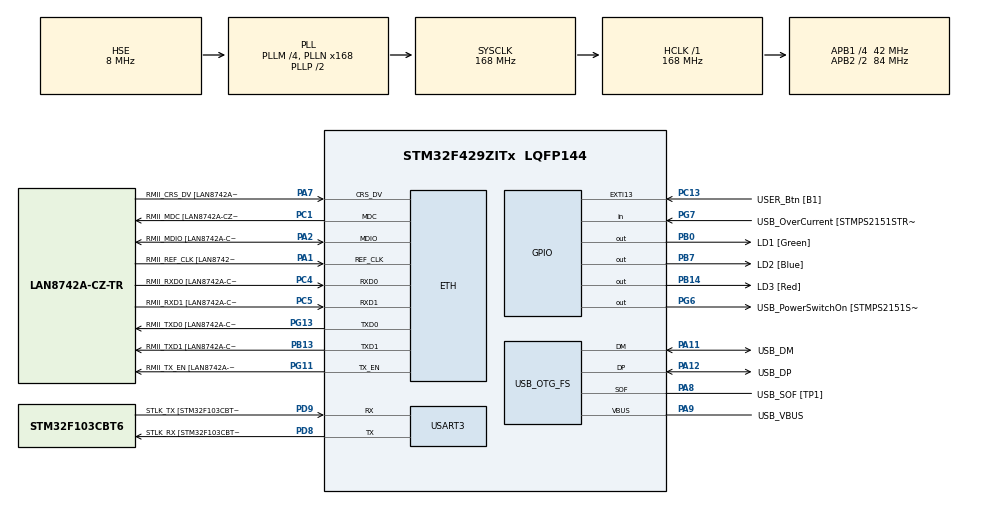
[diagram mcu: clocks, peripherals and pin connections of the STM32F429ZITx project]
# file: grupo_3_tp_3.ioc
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ETH.MediaInterface=HAL_ETH_RMII_MODE
ETH.PHY_Name=LAN8742A_PHY_ADDRESS
ETH.PHY_Value=0
ETH.PhyAddress=0
FREERTOS.INCLUDE_vTaskDelayUntil=1
FREERTOS.MEMORY_ALLOCATION=0
FREERTOS.Tasks01=defaultTask,0,128,StartDefaultTask,Default,NULL,Dynamic,NULL,NULL
FREERTOS.configGENERATE_RUN_TIME_STATS=1
FREERTOS.configRECORD_STACK_HIGH_ADDRESS=1
FREERTOS.configUSE_COUNTING_SEMAPHORES=1
FREERTOS.configUSE_IDLE_HOOK=1
FREERTOS.configUSE_STATS_FORMATTING_FUNCTIONS=1
FREERTOS.configUSE_TIMERS=1
FREERTOS.configUSE_TRACE_FACILITY=1
Mcu.Family=STM32F4
Mcu.Name=STM32F429ZITx
Mcu.Package=LQFP144
NVIC.PriorityGroup=NVIC_PRIORITYGROUP_4
NVIC.TIM1_UP_TIM10_IRQn=true\:15\:0\:false\:false\:true\:false\:false\:true\:true
NVIC.TIM2_IRQn=true\:5\:0\:false\:false\:true\:true\:true\:true\:true
NVIC.TimeBase=TIM1_UP_TIM10_IRQn
NVIC.TimeBaseIP=TIM1
PA1.GPIO_Label=RMII_REF_CLK [LAN8742A-CZ-TR_REFCLK0]
PA1.Mode=RMII
PA1.Signal=ETH_REF_CLK
PA10.GPIO_Label=USB_ID
PA10.Signal=USB_OTG_FS_ID
PA11.GPIO_Label=USB_DM
PA11.Mode=Device_Only
PA11.Signal=USB_OTG_FS_DM
PA12.GPIO_Label=USB_DP
PA12.Mode=Device_Only
PA12.Signal=USB_OTG_FS_DP
PA13.GPIO_Label=TMS
PA13.Mode=Serial_Wire
PA13.Signal=SYS_JTMS-SWDIO
PA14.GPIO_Label=TCK
PA14.Mode=Serial_Wire
PA14.Signal=SYS_JTCK-SWCLK
PA2.GPIO_Label=RMII_MDIO [LAN8742A-CZ-TR_MDIO]
PA2.Mode=RMII
PA2.Signal=ETH_MDIO
PA7.GPIO_Label=RMII_CRS_DV [LAN8742A-CZ-TR_CRS_DV]
PA7.Mode=RMII
PA7.Signal=ETH_CRS_DV
PA8.GPIO_Label=USB_SOF [TP1]
PA8.Mode=Activate_SOF_FS
PA8.Signal=USB_OTG_FS_SOF
PA9.GPIO_Label=USB_VBUS
PA9.Mode=Activate_VBUS
PA9.Signal=USB_OTG_FS_VBUS
PB0.GPIO_Label=LD1 [Green]
PB0.Signal=GPIO_Output
PB13.GPIO_Label=RMII_TXD1 [LAN8742A-CZ-TR_TXD1]
PB13.Mode=RMII
PB13.Signal=ETH_TXD1
PB14.GPIO_Label=LD3 [Red]
PB14.Signal=GPIO_Output
PB7.GPIO_Label=LD2 [Blue]
PB7.Signal=GPIO_Output
PC1.GPIO_Label=RMII_MDC [LAN8742A-CZ-TR_MDC]
PC1.Mode=RMII
PC1.Signal=ETH_MDC
PC13.GPIO_Label=USER_Btn [B1]
PC13.Signal=GPXTI13
PC14/OSC32_IN.Mode=LSE-External-Oscillator
PC14/OSC32_IN.Signal=RCC_OSC32_IN
PC15/OSC32_OUT.Mode=LSE-External-Oscillator
PC15/OSC32_OUT.Signal=RCC_OSC32_OUT
PC4.GPIO_Label=RMII_RXD0 [LAN8742A-CZ-TR_RXD0]
PC4.Mode=RMII
PC4.Signal=ETH_RXD0
PC5.GPIO_Label=RMII_RXD1 [LAN8742A-CZ-TR_RXD1]
PC5.Mode=RMII
PC5.Signal=ETH_RXD1
PD8.GPIO_Label=STLK_RX [STM32F103CBT6_PA3]
PD8.Mode=Asynchronous
PD8.Signal=USART3_TX
PD9.GPIO_Label=STLK_TX [STM32F103CBT6_PA2]
PD9.Mode=Asynchronous
PD9.Signal=USART3_RX
PG11.GPIO_Label=RMII_TX_EN [LAN8742A-CZ-TR_TXEN]
PG11.Mode=RMII
PG11.Signal=ETH_TX_EN
PG13.GPIO_Label=RMII_TXD0 [LAN8742A-CZ-TR_TXD0]
PG13.Mode=RMII
PG13.Signal=ETH_TXD0
PG6.GPIO_Label=USB_PowerSwitchOn [STMPS2151STR_EN]
PG6.Signal=GPIO_Output
PG7.GPIO_Label=USB_OverCurrent [STMPS2151STR_FAULT]
PG7.Signal=GPIO_Input
PH0/OSC_IN.GPIO_Label=MCO [STM32F103CBT6_PA8]
PH0/OSC_IN.Mode=HSE-External-Clock-Source
PH0/OSC_IN.Signal=RCC_OSC_IN
PH1/OSC_OUT.Mode=HSE-External-Clock-Source
PH1/OSC_OUT.Signal=RCC_OSC_OUT
ProjectManager.HeapSize=0x200
ProjectManager.StackSize=0x400
ProjectManager.TargetToolchain=STM32CubeIDE
RCC.48MHZClocksFreq_Value=48000000
RCC.AHBFreq_Value=168000000
RCC.APB1CLKDivider=RCC_HCLK_DIV4
RCC.APB1Freq_Value=42000000
RCC.APB1TimFreq_Value=84000000
RCC.APB2CLKDivider=RCC_HCLK_DIV2
RCC.APB2Freq_Value=84000000
RCC.APB2TimCLKDivider=2
RCC.APB2TimFreq_Value=168000000
RCC.CortexFreq_Value=168000000
RCC.HCLKFreq_Value=168000000
RCC.HSE_VALUE=8000000
RCC.HSI_VALUE=16000000
RCC.PLLM=4
RCC.PLLMUL=RCC_PLL_MUL9
RCC.PLLN=168
RCC.PLLQ=7
RCC.PRESCALERUSB=RCC_USBCLKSOURCE_PLL_DIV1_5
RCC.SYSCLKFreq_VALUE=168000000
RCC.SYSCLKSource=RCC_SYSCLKSOURCE_PLLCLK
RCC.SYSCLKSourceVirtual=RCC_SYSCLKSOURCE_PLLCLK
RCC.USBFreq_Value=48000000
RCC.VCOOutputFreq_Value=336000000
TIM2.Period=84000-1
TIM2.Prescaler=2-1
USART3.VirtualMode=VM_ASYNC
USB_OTG_FS.VirtualMode=Device_Only
VP_FREERTOS_VS_CMSIS_V1.Mode=CMSIS_V1
VP_SYS_VS_tim1.Mode=TIM1
VP_TIM2_VS_ClockSourceINT.Mode=Internal
board=NUCLEO-F429ZI

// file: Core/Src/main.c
/* USER CODE BEGIN Header */
/**
  ******************************************************************************
  * @file           : main.c
  * @brief          : Main program body
  ******************************************************************************
  * @attention
  *
  * Copyright (c) 2024 STMicroelectronics.
  * All rights reserved.
  *
  * This software is licensed under terms that can be found in the LICENSE file
  * in the root directory of this software component.
  * If no LICENSE file comes with this software, it is provided AS-IS.
  *
  ******************************************************************************
  */
/* USER CODE END Header */
#include "main.h"
#include "string.h"
#include "cmsis_os.h"

/* USER CODE BEGIN Includes */

/* Demo includes. */
#include "logger.h"
#include "dwt.h"

/* Application includes. */
#include "app.h"

/* USER CODE END Includes */

ETH_TxPacketConfig TxConfig;
ETH_DMADescTypeDef  DMARxDscrTab[ETH_RX_DESC_CNT]; /* Ethernet Rx DMA Descriptors */
ETH_DMADescTypeDef  DMATxDscrTab[ETH_TX_DESC_CNT]; /* Ethernet Tx DMA Descriptors */

ETH_HandleTypeDef heth;

TIM_HandleTypeDef htim2;

UART_HandleTypeDef huart3;

PCD_HandleTypeDef hpcd_USB_OTG_FS;

osThreadId defaultTaskHandle;
/* USER CODE BEGIN PV */
volatile unsigned long ulHighFrequencyTimerTicks;

/* USER CODE END PV */

void SystemClock_Config(void);
static void MX_GPIO_Init(void);
static void MX_ETH_Init(void);
static void MX_USART3_UART_Init(void);
static void MX_USB_OTG_FS_PCD_Init(void);
static void MX_TIM2_Init(void);
void StartDefaultTask(void const * argument);

/* USER CODE BEGIN 0 */
extern void initialise_monitor_handles(void);

/* USER CODE END 0 */

int main(void)
{
  /* USER CODE BEGIN 1 */
	initialise_monitor_handles();

  /* USER CODE END 1 */

  /* MCU Configuration--------------------------------------------------------*/

  /* Reset of all peripherals, Initializes the Flash interface and the Systick. */
  HAL_Init();

  /* Configure the system clock */
  SystemClock_Config();

  /* Initialize all configured peripherals */
  MX_GPIO_Init();
  MX_ETH_Init();
  MX_USART3_UART_Init();
  MX_USB_OTG_FS_PCD_Init();
  MX_TIM2_Init();
  /* USER CODE BEGIN 2 */
  /* Start timer */
	HAL_TIM_Base_Start_IT(&htim2);

    /* add application, ... */
	app_init();

  /* USER CODE END 2 */

  /* USER CODE BEGIN RTOS_QUEUES */
  /* add queues, ... */
	#ifdef _defaultTask_

  /* USER CODE END RTOS_QUEUES */

  /* Create the thread(s) */
  /* definition and creation of defaultTask */
  osThreadDef(defaultTask, StartDefaultTask, osPriorityNormal, 0, 128);
  defaultTaskHandle = osThreadCreate(osThread(defaultTask), NULL);

  /* USER CODE BEGIN RTOS_THREADS */
	#endif

  /* add threads, ... */
  /* USER CODE END RTOS_THREADS */

  /* Start scheduler */
  osKernelStart();

  /* We should never get here as control is now taken by the scheduler */
  /* Infinite loop */
  while (1)
  {

  }
}

void SystemClock_Config(void)
{
  RCC_OscInitTypeDef RCC_OscInitStruct = {0};
  RCC_ClkInitTypeDef RCC_ClkInitStruct = {0};

  /** Configure the main internal regulator output voltage
  */
  __HAL_RCC_PWR_CLK_ENABLE();
  __HAL_PWR_VOLTAGESCALING_CONFIG(PWR_REGULATOR_VOLTAGE_SCALE1);

  /** Initializes the RCC Oscillators according to the specified parameters
  * in the RCC_OscInitTypeDef structure.
  */
  RCC_OscInitStruct.OscillatorType = RCC_OSCILLATORTYPE_HSE;
  RCC_OscInitStruct.HSEState = RCC_HSE_BYPASS;
  RCC_OscInitStruct.PLL.PLLState = RCC_PLL_ON;
  RCC_OscInitStruct.PLL.PLLSource = RCC_PLLSOURCE_HSE;
  RCC_OscInitStruct.PLL.PLLM = 4;
  RCC_OscInitStruct.PLL.PLLN = 168;
  RCC_OscInitStruct.PLL.PLLP = RCC_PLLP_DIV2;
  RCC_OscInitStruct.PLL.PLLQ = 7;
  if (HAL_RCC_OscConfig(&RCC_OscInitStruct) != HAL_OK)
  {
    Error_Handler();
  }

  /** Initializes the CPU, AHB and APB buses clocks
  */
  RCC_ClkInitStruct.ClockType = RCC_CLOCKTYPE_HCLK|RCC_CLOCKTYPE_SYSCLK
                              |RCC_CLOCKTYPE_PCLK1|RCC_CLOCKTYPE_PCLK2;
  RCC_ClkInitStruct.SYSCLKSource = RCC_SYSCLKSOURCE_PLLCLK;
  RCC_ClkInitStruct.AHBCLKDivider = RCC_SYSCLK_DIV1;
  RCC_ClkInitStruct.APB1CLKDivider = RCC_HCLK_DIV4;
  RCC_ClkInitStruct.APB2CLKDivider = RCC_HCLK_DIV2;

  if (HAL_RCC_ClockConfig(&RCC_ClkInitStruct, FLASH_LATENCY_5) != HAL_OK)
  {
    Error_Handler();
  }
}

static void MX_ETH_Init(void)
{

   static uint8_t MACAddr[6];

  heth.Instance = ETH;
  MACAddr[0] = 0x00;
  MACAddr[1] = 0x80;
  MACAddr[2] = 0xE1;
  MACAddr[3] = 0x00;
  MACAddr[4] = 0x00;
  MACAddr[5] = 0x00;
  heth.Init.MACAddr = &MACAddr[0];
  heth.Init.MediaInterface = HAL_ETH_RMII_MODE;
  heth.Init.TxDesc = DMATxDscrTab;
  heth.Init.RxDesc = DMARxDscrTab;
  heth.Init.RxBuffLen = 1524;

  if (HAL_ETH_Init(&heth) != HAL_OK)
  {
    Error_Handler();
  }

  memset(&TxConfig, 0 , sizeof(ETH_TxPacketConfig));
  TxConfig.Attributes = ETH_TX_PACKETS_FEATURES_CSUM | ETH_TX_PACKETS_FEATURES_CRCPAD;
  TxConfig.ChecksumCtrl = ETH_CHECKSUM_IPHDR_PAYLOAD_INSERT_PHDR_CALC;
  TxConfig.CRCPadCtrl = ETH_CRC_PAD_INSERT;

}

static void MX_TIM2_Init(void)
{

  TIM_ClockConfigTypeDef sClockSourceConfig = {0};
  TIM_MasterConfigTypeDef sMasterConfig = {0};

  htim2.Instance = TIM2;
  htim2.Init.Prescaler = 2-1;
  htim2.Init.CounterMode = TIM_COUNTERMODE_UP;
  htim2.Init.Period = 84000-1;
  htim2.Init.ClockDivision = TIM_CLOCKDIVISION_DIV1;
  htim2.Init.AutoReloadPreload = TIM_AUTORELOAD_PRELOAD_DISABLE;
  if (HAL_TIM_Base_Init(&htim2) != HAL_OK)
  {
    Error_Handler();
  }
  sClockSourceConfig.ClockSource = TIM_CLOCKSOURCE_INTERNAL;
  if (HAL_TIM_ConfigClockSource(&htim2, &sClockSourceConfig) != HAL_OK)
  {
    Error_Handler();
  }
  sMasterConfig.MasterOutputTrigger = TIM_TRGO_RESET;
  sMasterConfig.MasterSlaveMode = TIM_MASTERSLAVEMODE_DISABLE;
  if (HAL_TIMEx_MasterConfigSynchronization(&htim2, &sMasterConfig) != HAL_OK)
  {
    Error_Handler();
  }

}

static void MX_USART3_UART_Init(void)
{

  huart3.Instance = USART3;
  huart3.Init.BaudRate = 115200;
  huart3.Init.WordLength = UART_WORDLENGTH_8B;
  huart3.Init.StopBits = UART_STOPBITS_1;
  huart3.Init.Parity = UART_PARITY_NONE;
  huart3.Init.Mode = UART_MODE_TX_RX;
  huart3.Init.HwFlowCtl = UART_HWCONTROL_NONE;
  huart3.Init.OverSampling = UART_OVERSAMPLING_16;
  if (HAL_UART_Init(&huart3) != HAL_OK)
  {
    Error_Handler();
  }

}

static void MX_USB_OTG_FS_PCD_Init(void)
{

  hpcd_USB_OTG_FS.Instance = USB_OTG_FS;
  hpcd_USB_OTG_FS.Init.dev_endpoints = 4;
  hpcd_USB_OTG_FS.Init.speed = PCD_SPEED_FULL;
  hpcd_USB_OTG_FS.Init.dma_enable = DISABLE;
  hpcd_USB_OTG_FS.Init.phy_itface = PCD_PHY_EMBEDDED;
  hpcd_USB_OTG_FS.Init.Sof_enable = ENABLE;
  hpcd_USB_OTG_FS.Init.low_power_enable = DISABLE;
  hpcd_USB_OTG_FS.Init.lpm_enable = DISABLE;
  hpcd_USB_OTG_FS.Init.vbus_sensing_enable = ENABLE;
  hpcd_USB_OTG_FS.Init.use_dedicated_ep1 = DISABLE;
  if (HAL_PCD_Init(&hpcd_USB_OTG_FS) != HAL_OK)
  {
    Error_Handler();
  }

}

static void MX_GPIO_Init(void)
{
  GPIO_InitTypeDef GPIO_InitStruct = {0};

  /* GPIO Ports Clock Enable */
  __HAL_RCC_GPIOC_CLK_ENABLE();
  __HAL_RCC_GPIOH_CLK_ENABLE();
  __HAL_RCC_GPIOA_CLK_ENABLE();
  __HAL_RCC_GPIOB_CLK_ENABLE();
  __HAL_RCC_GPIOD_CLK_ENABLE();
  __HAL_RCC_GPIOG_CLK_ENABLE();

  /*Configure GPIO pin Output Level */
  HAL_GPIO_WritePin(GPIOB, LD1_Pin|LD3_Pin|LD2_Pin, GPIO_PIN_RESET);

  /*Configure GPIO pin Output Level */
  HAL_GPIO_WritePin(USB_PowerSwitchOn_GPIO_Port, USB_PowerSwitchOn_Pin, GPIO_PIN_RESET);

  /*Configure GPIO pin : USER_Btn_Pin */
  GPIO_InitStruct.Pin = USER_Btn_Pin;
  GPIO_InitStruct.Mode = GPIO_MODE_IT_RISING;
  GPIO_InitStruct.Pull = GPIO_NOPULL;
  HAL_GPIO_Init(USER_Btn_GPIO_Port, &GPIO_InitStruct);

  /*Configure GPIO pins : LD1_Pin LD3_Pin LD2_Pin */
  GPIO_InitStruct.Pin = LD1_Pin|LD3_Pin|LD2_Pin;
  GPIO_InitStruct.Mode = GPIO_MODE_OUTPUT_PP;
  GPIO_InitStruct.Pull = GPIO_NOPULL;
  GPIO_InitStruct.Speed = GPIO_SPEED_FREQ_LOW;
  HAL_GPIO_Init(GPIOB, &GPIO_InitStruct);

  /*Configure GPIO pin : USB_PowerSwitchOn_Pin */
  GPIO_InitStruct.Pin = USB_PowerSwitchOn_Pin;
  GPIO_InitStruct.Mode = GPIO_MODE_OUTPUT_PP;
  GPIO_InitStruct.Pull = GPIO_NOPULL;
  GPIO_InitStruct.Speed = GPIO_SPEED_FREQ_LOW;
  HAL_GPIO_Init(USB_PowerSwitchOn_GPIO_Port, &GPIO_InitStruct);

  /*Configure GPIO pin : USB_OverCurrent_Pin */
  GPIO_InitStruct.Pin = USB_OverCurrent_Pin;
  GPIO_InitStruct.Mode = GPIO_MODE_INPUT;
  GPIO_InitStruct.Pull = GPIO_NOPULL;
  HAL_GPIO_Init(USB_OverCurrent_GPIO_Port, &GPIO_InitStruct);

}

/* USER CODE BEGIN 4 */
/* Functions needed when configGENERATE_RUN_TIME_STATS is on */
void configureTimerForRunTimeStats(void)
{
    ulHighFrequencyTimerTicks = 0;
}

unsigned long getRunTimeCounterValue(void)
{
	return ulHighFrequencyTimerTicks;
}

/* Hook Functions */
void vApplicationIdleHook(void)
{
	/* The idle task can optionally call an application defined hook (or callback)
	   function - the idle hook. The idle task runs at the very lowest priority,
	   so such an idle hook function will only get executed when there are no tasks
	   of higher priority that are able to run. This makes the idle hook function
	   an ideal place to put the processor into a low power state - providing an
	   automatic power saving whenever there is no processing to be performed.
	   The idle hook will only get called if configUSE_IDLE_HOOK is set to 1
	   https://www.freertos.org/a00016.html
	   The idle hook is called repeatedly as long as the idle task is running. It
	   is paramount that the idle hook function does not call any API functions
	   that could cause it to block.*/
	//LOGGER_LOG("  +\r\n");

}

void vApplicationTickHook(void)
{
	/* The tick interrupt can optionally call an application defined hook (or callback)
	   function - the tick hook.
	   The tick hook will only get called if configUSE_TICK_HOOK is set to 1
	   https://www.freertos.org/a00016.html
	   vApplicationTickHook() executes from within an ISR so must be very short, not use
	   much stack, and not call any API functions that don't end in "FromISR" or "FROM_ISR".*/
	//LOGGER_LOG("  -\r\n");
}

void vApplicationStackOverflowHook(xTaskHandle xTask, signed char *pcTaskName)
{
	/* Run time stack overflow checking is performed if
	   configCHECK_FOR_STACK_OVERFLOW is defined to 1 or 2. This hook function is
	   called if a stack overflow is detected.
	   https://www.freertos.org/Stacks-and-stack-overflow-checking.html */
	//LOGGER_LOG(" Application Stack Overflow!! on Task: %s\r\n", ( char* )pcTaskName );

    taskENTER_CRITICAL();
    configASSERT( 0 );   /* hang the execution for debugging purposes */
    taskEXIT_CRITICAL();
}

/* USER CODE END 4 */

void StartDefaultTask(void const * argument)
{
  for(;;)
  {
    osDelay(1);
  }
}

void HAL_TIM_PeriodElapsedCallback(TIM_HandleTypeDef *htim)
{
  if (htim->Instance == TIM1) {
    HAL_IncTick();
  }
  /* USER CODE BEGIN Callback 1 */
	if (htim->Instance == TIM2)
	{
		ulHighFrequencyTimerTicks++;
	}

  /* USER CODE END Callback 1 */
}

void Error_Handler(void)
{
  __disable_irq();
  while (1)
  {
  }
}

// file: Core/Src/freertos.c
/* USER CODE BEGIN Header */
/**
  ******************************************************************************
  * File Name          : freertos.c
  * Description        : Code for freertos applications
  ******************************************************************************
  * @attention
  *
  * Copyright (c) 2024 STMicroelectronics.
  * All rights reserved.
  *
  * This software is licensed under terms that can be found in the LICENSE file
  * in the root directory of this software component.
  * If no LICENSE file comes with this software, it is provided AS-IS.
  *
  ******************************************************************************
  */
/* USER CODE END Header */

#include "FreeRTOS.h"
#include "task.h"
#include "main.h"

/* Hook prototypes */
void configureTimerForRunTimeStats(void);
unsigned long getRunTimeCounterValue(void);
void vApplicationIdleHook(void);

/* USER CODE BEGIN 1 */
/* Functions needed when configGENERATE_RUN_TIME_STATS is on */
__weak void configureTimerForRunTimeStats(void)
{

}

__weak unsigned long getRunTimeCounterValue(void)
{
return 0;
}
/* USER CODE END 1 */

/* USER CODE BEGIN 2 */
__weak void vApplicationIdleHook( void )
{
   /* vApplicationIdleHook() will only be called if configUSE_IDLE_HOOK is set
   to 1 in FreeRTOSConfig.h. It will be called on each iteration of the idle
   task. It is essential that code added to this hook function never attempts
   to block in any way (for example, call xQueueReceive() with a block time
   specified, or call vTaskDelay()). If the application makes use of the
   vTaskDelete() API function (as this demo application does) then it is also
   important that vApplicationIdleHook() is permitted to return to its calling
   function, because it is the responsibility of the idle task to clean up
   memory allocated by the kernel to any task that has since been deleted. */
}
/* USER CODE END 2 */
